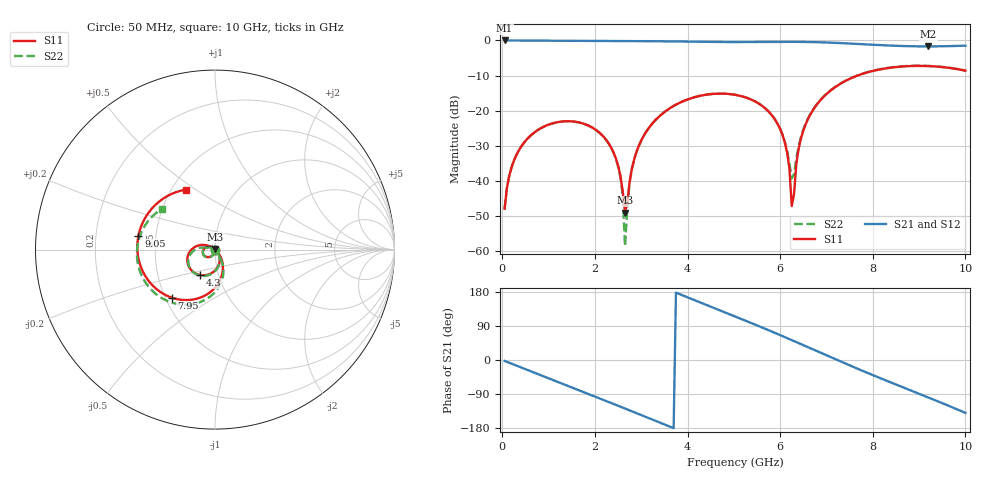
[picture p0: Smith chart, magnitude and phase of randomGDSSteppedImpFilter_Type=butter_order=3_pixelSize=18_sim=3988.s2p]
! freq	dB(S11)	phase(S11)	dB(S12)	phase(S12)
!  dB(S21)	phase(S21)	dB(S22)	phase(S22)
!S-par simulation data
#  GHz  S  DB  R 50
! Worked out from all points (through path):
!   200 points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, 50 MHz to 10 GHz, reference 50 ohm
!   highest |S21| = 0.00 dB at 50 MHz (marker M1); lowest = -1.7 dB at 9.2 GHz (marker M2)
!   group delay of S21, straight-line fit = 139 ps
!   lowest |S11| = -49.1 dB at 2.65 GHz (marker M3), VSWR 1.01, Z = 50.1 + j0.334 ohm
!   |S11| at or under -10 dB: start of sweep to 7.674 GHz
!   |S22| runs from -58.6 to -7.2 dB; largest |S21 - S12| = 0
!   S11 on the Smith chart (normalised r, x): 50 MHz: 1.00, -0.01; 4.3 GHz: 0.82, -0.24; 7.95 GHz: 0.54, -0.33; 9.05 GHz: 0.40, +0.07; 10 GHz: 0.59, +0.46
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0.05  -47.96 -90.9  -0.00 -2.5  -0.00 -2.5  -47.97 -90.9
0.2  -36.17 -99.0  -0.02 -9.7  -0.02 -9.7  -36.18 -98.8
0.55  -27.91 -117.4  -0.04 -26.6  -0.04 -26.6  -27.91 -116.7
1.75  -23.71 -177.3  -0.11 -84.3  -0.11 -84.3  -23.72 -174.5
2.45  -33.51 142.3  -0.14 -118.3  -0.14 -118.3  -33.67 151.6
2.6  -42.89 117.5  -0.15 -125.6  -0.15 -125.6  -44.05 143.6
2.65  -49.12 72.3  -0.15 -128.1  -0.15 -128.1  -58.63 132.6
2.75  -40.25 -25.4  -0.16 -133.0  -0.16 -133.0  -40.51 -41.9
2.85  -33.79 -40.5  -0.17 -137.9  -0.17 -137.9  -33.79 -47.1
3.4  -21.52 -74.5  -0.24 -165.0  -0.24 -165.0  -21.49 -73.9
4.3  -15.71 -120.1  -0.40 150.8  -0.40 150.8  -15.69 -116.9
5.05  -15.55 -157.5  -0.46 113.9  -0.46 113.9  -15.52 -152.1
5.95  -23.91 156.1  -0.40 68.3  -0.40 68.3  -23.84 169.5
6.15  -31.94 144.8  -0.39 57.8  -0.39 57.8  -31.43 172.5
6.25  -47.20 134.9  -0.40 52.5  -0.40 52.5  -39.33 -145.4
6.4  -30.80 -46.9  -0.41 44.6  -0.41 44.6  -30.10 -61.5
6.7  -20.03 -64.0  -0.47 28.5  -0.47 28.5  -19.89 -63.8
7.95  -8.86 -132.2  -1.19 -37.3  -1.19 -37.3  -8.79 -123.0
8.35  -7.82 -153.2  -1.45 -57.3  -1.45 -57.3  -7.75 -141.8
9.05  -7.26 170.0  -1.68 -91.5  -1.68 -91.5  -7.20 -173.8
9.2  -7.31 161.9  -1.69 -98.8  -1.69 -98.8  -7.25 179.4
10  -8.60 116.1  -1.49 -139.6  -1.49 -139.6  -8.61 142.3
